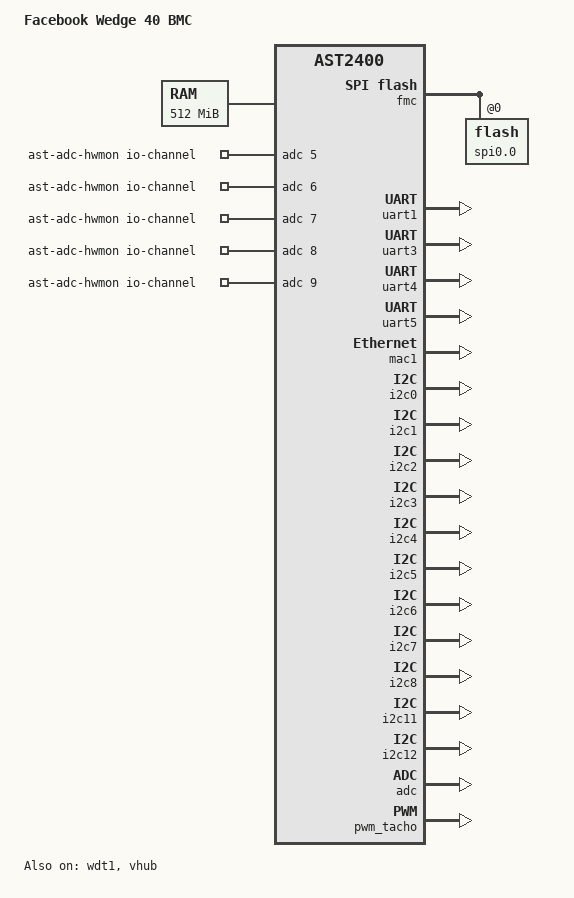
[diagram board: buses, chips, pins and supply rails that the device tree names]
// SPDX-License-Identifier: GPL-2.0+
// Copyright (c) 2018 Facebook Inc.
/dts-v1/;

#include "aspeed-g4.dtsi"

/ {
	model = "Facebook Wedge 40 BMC";
	compatible = "facebook,wedge40-bmc", "aspeed,ast2400";

	aliases {
		/*
		 * Override the default uart aliases to avoid breaking
		 * the legacy applications.
		 */
		serial0 = &uart5;
		serial1 = &uart1;
		serial2 = &uart3;
		serial3 = &uart4;
	};

	chosen {
		stdout-path = &uart3;
		bootargs = "console=ttyS2,9600n8 root=/dev/ram rw";
	};

	memory@40000000 {
		reg = <0x40000000 0x20000000>;
	};

	ast-adc-hwmon {
		compatible = "iio-hwmon";
		io-channels = <&adc 5>, <&adc 6>, <&adc 7>, <&adc 8>, <&adc 9>;
	};
};

&wdt1 {
	status = "okay";
	aspeed,reset-type = "system";
};

&wdt2 {
	status = "disabled";
};

&fmc {
	status = "okay";
	flash@0 {
		status = "okay";
		m25p,fast-read;
		label = "spi0.0";
#include "facebook-bmc-flash-layout.dtsi"
	};
};

&uart1 {
	status = "okay";
	pinctrl-names = "default";
	pinctrl-0 = <&pinctrl_txd1_default
		     &pinctrl_rxd1_default>;
};

&uart3 {
	status = "okay";
	pinctrl-names = "default";
	pinctrl-0 = <&pinctrl_txd3_default
		     &pinctrl_rxd3_default>;
};

&uart4 {
	status = "okay";
	pinctrl-names = "default";
	pinctrl-0 = <&pinctrl_txd4_default
		     &pinctrl_rxd4_default
		     &pinctrl_ndts4_default>;
};

&uart5 {
	status = "okay";
};

&mac1 {
	status = "okay";
	pinctrl-names = "default";
	pinctrl-0 = <&pinctrl_rgmii2_default &pinctrl_mdio2_default>;
};

&i2c0 {
	status = "okay";
};

&i2c1 {
	status = "okay";
};

&i2c2 {
	status = "okay";
};

&i2c3 {
	status = "okay";
};

&i2c4 {
	status = "okay";
};

&i2c5 {
	status = "okay";
};

&i2c6 {
	status = "okay";
};

&i2c7 {
	status = "okay";
};

&i2c8 {
	status = "okay";
};

&i2c11 {
	status = "okay";
};

&i2c12 {
	status = "okay";
};

&vhub {
	status = "okay";
};

&adc {
	status = "okay";
};

&pwm_tacho {
	status = "okay";
	pinctrl-names = "default";
	pinctrl-0 = <&pinctrl_pwm0_default
		     &pinctrl_pwm1_default
		     &pinctrl_pwm6_default
		     &pinctrl_pwm7_default>;

	fan@0 {
		reg = <0x00>;
		aspeed,fan-tach-ch = /bits/ 8 <0x00 0x01>;
	};

	fan@1 {
		reg = <0x01>;
		aspeed,fan-tach-ch = /bits/ 8 <0x02 0x03>;
	};

	fan@6 {
		reg = <0x06>;
		aspeed,fan-tach-ch = /bits/ 8 <0x04 0x05>;
	};

	fan@7 {
		reg = <0x07>;
		aspeed,fan-tach-ch = /bits/ 8 <0x06 0x07>;
	};
};
